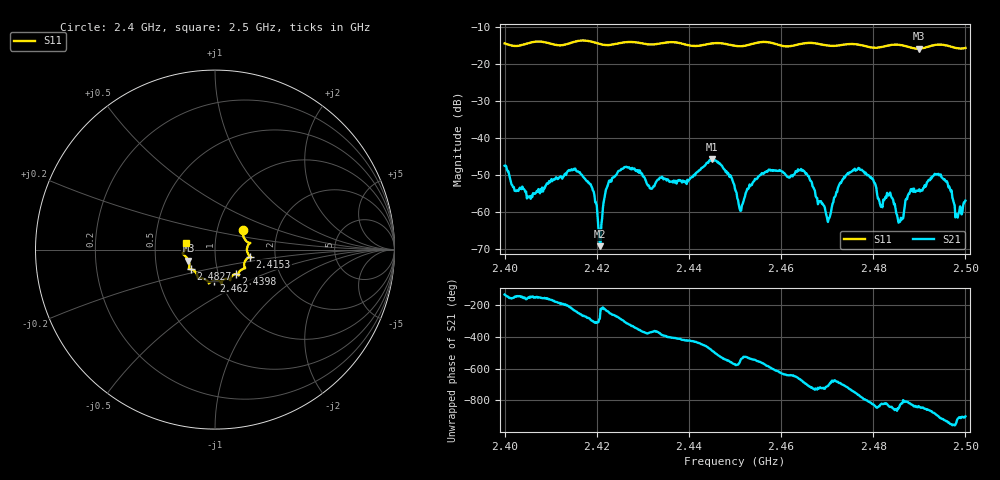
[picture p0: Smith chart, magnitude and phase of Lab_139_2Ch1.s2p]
# Hz S RI R 50
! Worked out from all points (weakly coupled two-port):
!   601 points, 2.4 GHz to 2.5 GHz, reference 50 ohm
!   highest |S21| = -45.82 dB at 2.445 GHz (marker M1); lowest = -69.4 dB at 2.4207 GHz (marker M2)
!   lowest |S11| = -15.9 dB at 2.4898 GHz (marker M3), VSWR 1.38, Z = 36.9 - j4.61 ohm
!   |S11| at or under -10 dB: start of sweep to end of sweep
!   S12 and S22 are empty: the file has one direction only
!   S11 on the Smith chart (normalised r, x): 2.4 GHz: 1.33, +0.29; 2.4153 GHz: 1.48, -0.12; 2.4398 GHz: 1.21, -0.34; 2.462 GHz: 0.93, -0.33; 2.4827 GHz: 0.75, -0.17; 2.5 GHz: 0.72, +0.06
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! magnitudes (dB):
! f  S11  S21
! 2.4 GHz  -14.5  -47.6
! 2.4053 GHz  -14.4  -55.9
! 2.4153 GHz  -14.0  -48.4
! 2.4167 GHz  -13.7  -50.0
! 2.4207 GHz  -14.6  -69.4
! 2.4223 GHz  -14.9  -53.1
! 2.425 GHz  -14.4  -48.9
! 2.4333 GHz  -14.6  -51.3
! 2.4398 GHz  -15.0  -51.8
! 2.445 GHz  -14.5  -45.8
! 2.45 GHz  -15.1  -53.9
! 2.462 GHz  -15.2  -50.6
! 2.4667 GHz  -14.4  -52.1
! 2.4702 GHz  -15.1  -62.8
! 2.4763 GHz  -14.7  -48.8
! 2.4827 GHz  -15.2  -56.0
! 2.4833 GHz  -15.0  -55.7
! 2.486 GHz  -14.9  -61.7
! 2.4898 GHz  -15.9  -54.4
! 2.4942 GHz  -14.8  -49.8
! 2.4982 GHz  -15.8  -61.3
! 2.5 GHz  -15.7  -57.0
